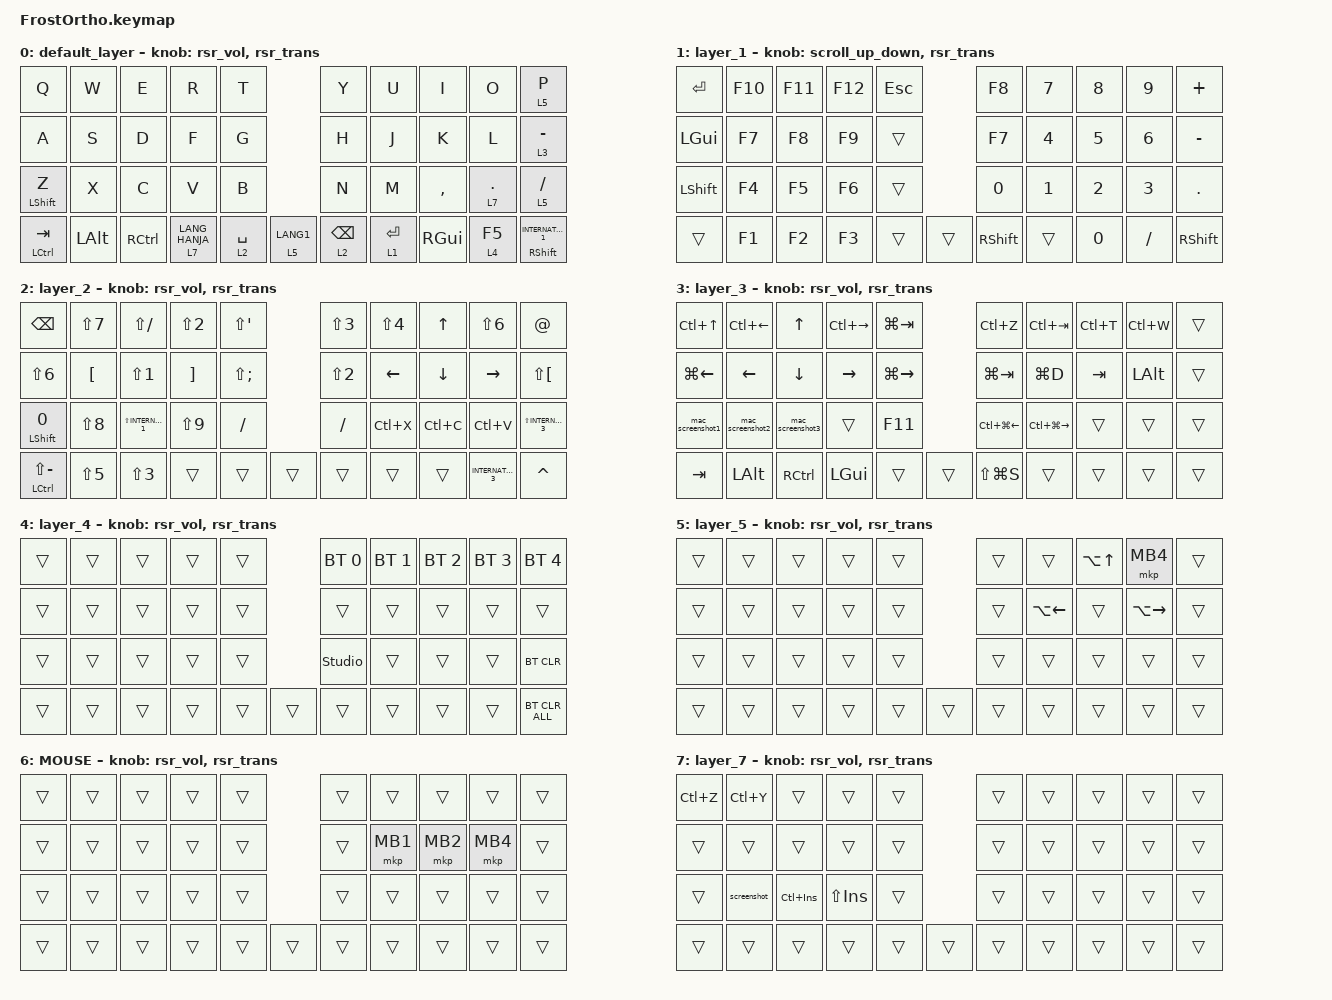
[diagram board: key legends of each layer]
#include <input/processors.dtsi>
#include <behaviors/rgbled_widget.dtsi>
#include <behaviors/runtime-sensor-rotate.dtsi>
#include <behaviors.dtsi>
#include <dt-bindings/zmk/bt.h>
#include <dt-bindings/zmk/keys.h>
#include <dt-bindings/zmk/pointing.h>

#define ZMK_POINTING_DEFAULT_SCRL_VAL 100
#define MOUSE 6

&mt {
    flavor = "balanced";
    quick-tap-ms = <0>;
};

/* クリックに対する設定 */
&mkp_input_listener {
    input-processors = <&zip_temp_layer 6 10000>; // 10秒
};

/ {
    combos { compatible = "zmk,combos"; };

    macros {
        to_layer_0: to_layer_0 {
            compatible = "zmk,behavior-macro-one-param";
            #binding-cells = <1>;
            bindings = <&to 0 &macro_param_1to1 &kp MACRO_PLACEHOLDER>;
            label = "TO_LAYER_0";
        };

        screenshot: screenshot {
            compatible = "zmk,behavior-macro";
            #binding-cells = <0>;
            bindings =
                <&to 7>,
                <&macro_press>,
                <&kp LEFT_WIN &kp LEFT_SHIFT &kp S>,
                <&macro_release>,
                <&kp LEFT_WIN &kp LEFT_SHIFT &kp S>;

            label = "SCREENSHOT";
        };

        mac_screenshot1: mac_screenshot1 {
            compatible = "zmk,behavior-macro";
            #binding-cells = <0>;
            bindings =
                <&to 3>,
                <&macro_press>,
                <&kp LEFT_SHIFT &kp LEFT_GUI &kp NUMBER_3>,
                <&macro_release>,
                <&kp LEFT_SHIFT &kp RIGHT_GUI &kp NUMBER_3>;

            label = "MAC_SCREENSHOT1";
        };

        mac_screenshot2: mac_screenshot2 {
            compatible = "zmk,behavior-macro";
            #binding-cells = <0>;
            bindings =
                <&to 3>,
                <&macro_press>,
                <&kp LEFT_GUI &kp LEFT_SHIFT &kp NUMBER_4>,
                <&macro_release>,
                <&kp LEFT_GUI &kp LEFT_SHIFT &kp NUMBER_4>;

            label = "MAC_SCREENSHOT2";
        };

        mac_screenshot3: mac_screenshot3 {
            compatible = "zmk,behavior-macro";
            #binding-cells = <0>;
            bindings =
                <&to 3>,
                <&macro_press>,
                <&kp LEFT_GUI &kp LEFT_SHIFT &kp NUMBER_5>,
                <&macro_release>,
                <&kp LEFT_GUI &kp LEFT_SHIFT &kp NUMBER_5>;

            label = "MAC_SCREENSHOT3";
        };
    };

    behaviors {
        lt_to_layer_0: lt_to_layer_0 {
            compatible = "zmk,behavior-hold-tap";
            label = "LAYER_TAP_TO_0";
            bindings = <&mo>, <&to_layer_0>;

            #binding-cells = <2>;
            tapping-term-ms = <300>;
        };

        led_bt_status: led_bt_status {
            compatible = "zmk,behavior-led-indicator";
            #binding-cells = <0>;

            /* bindings の指定を安全な名前にします */

            bindings = <&led0>, <&led2>;

            event = "bt_status_changed";
        };

        // Kyemap Editor用

        scroll_up_down: behavior_sensor_rotate_mouse_wheel_up_down {
            compatible = "zmk,behavior-sensor-rotate";
            #sensor-binding-cells = <0>;
            tap-ms = <20>;
            bindings = <&msc SCRL_UP>, <&msc SCRL_DOWN>;
        };

        vol_up_down: vol_up_down {
            compatible = "zmk,behavior-sensor-rotate";
            #sensor-binding-cells = <0>;
            tap-ms = <5>;
            bindings = <&kp C_VOL_DN>, <&kp C_VOL_UP>;
        };

        // DYA Studio用

        rsr_vol: rsr_vol {
            compatible = "zmk,behavior-runtime-sensor-rotate";
            #sensor-binding-cells = <0>;
            tap-ms = <5>;
            cw-binding = <&kp C_VOL_DN>;
            ccw-binding = <&kp C_VOL_UP>;
        };
    };

    keymap {
        compatible = "zmk,keymap";

        default_layer {
            bindings = <
&kp Q                 &kp W         &kp E      &kp R             &kp T                         &kp Y            &kp U        &kp I          &kp O         &lt 5 P
&kp A                 &kp S         &kp D      &kp F             &kp G                         &kp H            &kp J        &kp K          &kp L         &lt 3 MINUS
&mt LEFT_SHIFT Z      &kp X         &kp C      &kp V             &kp B                         &kp N            &kp M        &kp COMMA      &lt 7 PERIOD  &lt 5 SLASH
&mt LEFT_CONTROL TAB  &kp LEFT_ALT  &kp RCTRL  &lt 7 LANG_HANJA  &lt 2 SPACE  &lt 5 LANG1      &lt 2 BACKSPACE  &lt 1 ENTER  &kp RIGHT_GUI  &lt 4 F5      &mt RIGHT_SHIFT INTERNATIONAL_1
            >;

            sensor-bindings = <&rsr_vol &rsr_trans>;
        };

        layer_1 {
            bindings = <
&kp ENTER       &kp F10  &kp F11  &kp F12  &kp ESC              &kp F8        &kp NUMBER_7  &kp NUMBER_8  &kp NUMBER_9  &kp PLUS
&kp LEFT_GUI    &kp F7   &kp F8   &kp F9   &trans               &kp F7        &kp NUMBER_4  &kp NUMBER_5  &kp N6        &kp MINUS
&kp LEFT_SHIFT  &kp F4   &kp F5   &kp F6   &trans               &kp NUMBER_0  &kp NUMBER_1  &kp NUMBER_2  &kp NUMBER_3  &kp PERIOD
&trans          &kp F1   &kp F2   &kp F3   &trans   &trans      &kp RSHIFT    &trans        &kp NUMBER_0  &kp SLASH     &kp RIGHT_SHIFT
            >;

            sensor-bindings = <&scroll_up_down>, <&rsr_trans>;
        };

        layer_2 {
            bindings = <
&kp BACKSPACE               &kp LS(N7)        &kp LS(SLASH)            &kp LS(NUMBER_2)   &kp LS(SQT)                    &kp LS(NUMBER_3)  &kp LS(NUMBER_4)  &kp UP_ARROW    &kp LS(NUMBER_6)     &kp AT_SIGN
&kp LS(NUMBER_6)            &kp LEFT_BRACKET  &kp LS(NUMBER_1)         &kp RIGHT_BRACKET  &kp LS(SEMICOLON)              &kp LS(N2)        &kp LEFT_ARROW    &kp DOWN_ARROW  &kp RIGHT_ARROW      &kp LS(LEFT_BRACKET)
&mt LEFT_SHIFT N0           &kp LS(NUMBER_8)  &kp LS(INTERNATIONAL_1)  &kp LS(NUMBER_9)   &kp SLASH                      &kp SLASH         &kp LC(X)         &kp LC(C)       &kp LC(V)            &kp LS(INTERNATIONAL_3)
&mt LEFT_CONTROL LS(MINUS)  &kp LS(NUMBER_5)  &kp LS(NUMBER_3)         &trans             &trans             &trans      &trans            &trans            &trans          &kp INTERNATIONAL_3  &kp CARET
            >;

            sensor-bindings = <&rsr_vol &rsr_trans>;
        };

        layer_3 {
            bindings = <
&kp LC(UP_ARROW)    &kp LC(LEFT_ARROW)  &kp UP_ARROW      &kp LC(RIGHT_ARROW)  &kp LG(TAB)                      &kp LC(Z)               &kp LC(TAB)              &kp LC(T)  &kp LC(W)     &trans
&kp LG(LEFT_ARROW)  &kp LEFT_ARROW      &kp DOWN_ARROW    &kp RIGHT_ARROW      &kp LG(RIGHT_ARROW)              &kp LG(TAB)             &kp LG(D)                &kp TAB    &kp LEFT_ALT  &trans
&mac_screenshot1    &mac_screenshot2    &mac_screenshot3  &trans               &kp F11                          &kp LC(LG(LEFT_ARROW))  &kp LC(LG(RIGHT_ARROW))  &trans     &trans        &trans
&kp TAB             &kp LEFT_ALT        &kp RCTRL         &kp LEFT_GUI         &trans               &trans      &kp LS(LG(S))           &trans                   &trans     &trans        &trans
            >;

            sensor-bindings = <&rsr_vol &rsr_trans>;
        };

        layer_4 {
            bindings = <
&trans  &trans  &trans  &trans  &trans              &bt BT_SEL 0    &bt BT_SEL 1  &bt BT_SEL 2  &bt BT_SEL 3  &bt BT_SEL 4
&trans  &trans  &trans  &trans  &trans              &trans          &trans        &trans        &trans        &trans
&trans  &trans  &trans  &trans  &trans              &studio_unlock  &trans        &trans        &trans        &bt BT_CLR
&trans  &trans  &trans  &trans  &trans  &trans      &trans          &trans        &trans        &trans        &bt BT_CLR_ALL
            >;

            sensor-bindings = <&rsr_vol &rsr_trans>;
        };

        layer_5 {
            bindings = <
&trans  &trans  &trans  &trans  &trans              &trans  &trans              &kp LA(UP_ARROW)  &mkp MB4             &trans
&trans  &trans  &trans  &trans  &trans              &trans  &kp LA(LEFT_ARROW)  &trans            &kp LA(RIGHT_ARROW)  &trans
&trans  &trans  &trans  &trans  &trans              &trans  &trans              &trans            &trans               &trans
&trans  &trans  &trans  &trans  &trans  &trans      &trans  &trans              &trans            &trans               &trans
            >;

            sensor-bindings = <&rsr_vol &rsr_trans>;
        };

        MOUSE {
            bindings = <
&trans  &trans  &trans  &trans  &trans              &trans  &trans    &trans    &trans    &trans
&trans  &trans  &trans  &trans  &trans              &trans  &mkp MB1  &mkp MB2  &mkp MB4  &trans
&trans  &trans  &trans  &trans  &trans              &trans  &trans    &trans    &trans    &trans
&trans  &trans  &trans  &trans  &trans  &trans      &trans  &trans    &trans    &trans    &trans
            >;

            sensor-bindings = <&rsr_vol &rsr_trans>;
        };

        layer_7 {
            bindings = <
&kp LC(Z)  &kp LC(Y)    &trans       &trans       &trans              &trans  &trans  &trans  &trans  &trans
&trans     &trans       &trans       &trans       &trans              &trans  &trans  &trans  &trans  &trans
&trans     &screenshot  &kp LC(INS)  &kp LS(INS)  &trans              &trans  &trans  &trans  &trans  &trans
&trans     &trans       &trans       &trans       &trans  &trans      &trans  &trans  &trans  &trans  &trans
            >;

            sensor-bindings = <&rsr_vol &rsr_trans>;
        };
    };
};
